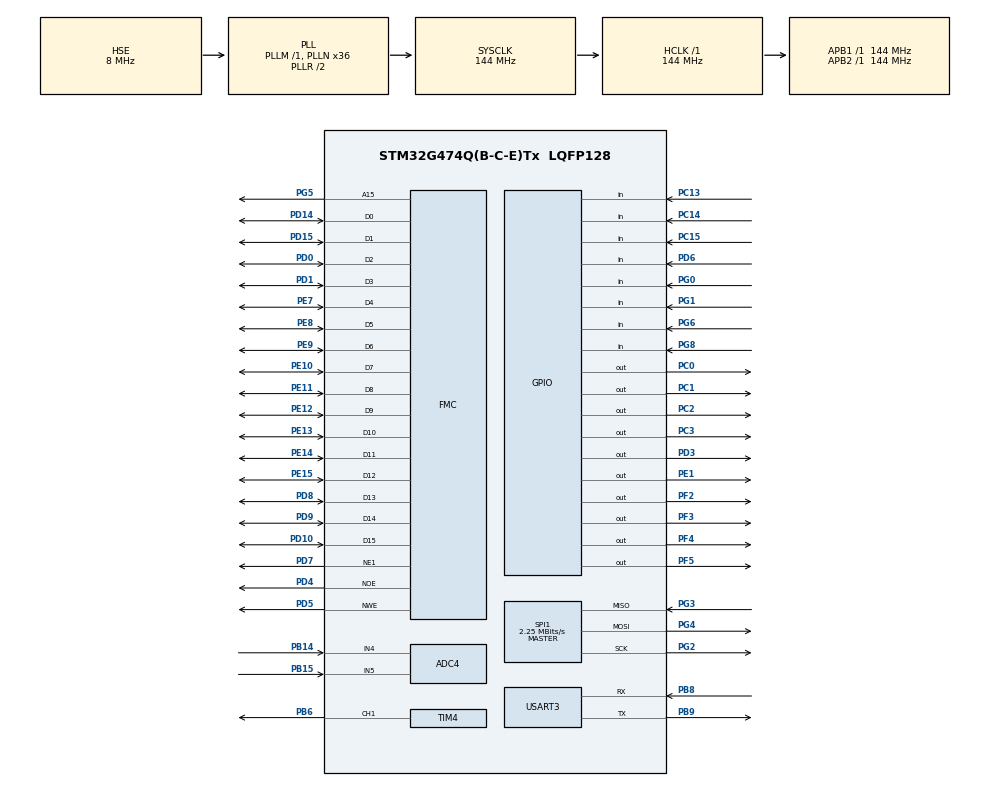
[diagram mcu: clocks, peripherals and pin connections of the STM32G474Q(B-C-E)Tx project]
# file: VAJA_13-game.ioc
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ADC4.Channel-5\#ChannelRegularConversion=ADC_CHANNEL_4
ADC4.Channel-6\#ChannelRegularConversion=ADC_CHANNEL_5
ADC4.DMAContinuousRequests=ENABLE
ADC4.ExternalTrigConv=ADC_EXTERNALTRIG_T1_TRGO
ADC4.NbrOfConversion=2
ADC4.NbrOfConversionFlag=1
ADC4.OffsetNumber-5\#ChannelRegularConversion=ADC_OFFSET_NONE
ADC4.OffsetNumber-6\#ChannelRegularConversion=ADC_OFFSET_NONE
ADC4.Rank-5\#ChannelRegularConversion=1
ADC4.Rank-6\#ChannelRegularConversion=2
ADC4.SamplingTime-5\#ChannelRegularConversion=ADC_SAMPLETIME_640CYCLES_5
ADC4.SamplingTime-6\#ChannelRegularConversion=ADC_SAMPLETIME_640CYCLES_5
Dma.ADC4.0.Direction=DMA_PERIPH_TO_MEMORY
Dma.ADC4.0.EventEnable=DISABLE
Dma.ADC4.0.Instance=DMA1_Channel1
Dma.ADC4.0.MemDataAlignment=DMA_MDATAALIGN_HALFWORD
Dma.ADC4.0.MemInc=DMA_MINC_ENABLE
Dma.ADC4.0.Mode=DMA_CIRCULAR
Dma.ADC4.0.PeriphDataAlignment=DMA_PDATAALIGN_HALFWORD
Dma.ADC4.0.PeriphInc=DMA_PINC_DISABLE
Dma.ADC4.0.Polarity=HAL_DMAMUX_REQ_GEN_RISING
Dma.ADC4.0.Priority=DMA_PRIORITY_LOW
Dma.ADC4.0.RequestNumber=1
Dma.ADC4.0.SignalID=NONE
Dma.ADC4.0.SyncEnable=DISABLE
Dma.ADC4.0.SyncPolarity=HAL_DMAMUX_SYNC_NO_EVENT
Dma.ADC4.0.SyncRequestNumber=1
Dma.ADC4.0.SyncSignalID=NONE
Dma.Request0=ADC4
FMC.AddressSetupTime1=1
FMC.BusTurnAroundDuration1=1
FMC.DataHoldTime1=1
FMC.DataSetupTime1=1
Mcu.Family=STM32G4
Mcu.Name=STM32G474Q(B-C-E)Tx
Mcu.Package=LQFP128
NVIC.DMA1_Channel1_IRQn=true\:0\:0\:false\:false\:true\:false\:true\:true
NVIC.PriorityGroup=NVIC_PRIORITYGROUP_4
NVIC.TIM6_DAC_IRQn=true\:15\:0\:true\:false\:true\:true\:true\:true
NVIC.USART3_IRQn=true\:0\:0\:false\:false\:true\:true\:true\:true
PB14.Mode=IN4-Single-Ended
PB14.Signal=ADC4_IN4
PB15.Mode=IN5-Single-Ended
PB15.Signal=ADC4_IN5
PB6.Signal=S_TIM4_CH1
PB8-BOOT0.Mode=Asynchronous
PB8-BOOT0.Signal=USART3_RX
PB9.Mode=Asynchronous
PB9.Signal=USART3_TX
PC0.Signal=GPIO_Output
PC1.Signal=GPIO_Output
PC13.GPIO_PuPd=GPIO_PULLUP
PC13.Signal=GPIO_Input
PC14-OSC32_IN.GPIO_PuPd=GPIO_PULLUP
PC14-OSC32_IN.Signal=GPIO_Input
PC15-OSC32_OUT.GPIO_PuPd=GPIO_PULLUP
PC15-OSC32_OUT.Signal=GPIO_Input
PC2.Signal=GPIO_Output
PC3.Signal=GPIO_Output
PD0.Signal=FMC_D2_DA2
PD1.Signal=FMC_D3_DA3
PD10.Signal=FMC_D15_DA15
PD14.Signal=FMC_D0_DA0
PD15.Signal=FMC_D1_DA1
PD3.Signal=GPIO_Output
PD4.Signal=FMC_NOE
PD5.Signal=FMC_NWE
PD6.Signal=GPIO_Input
PD7.Mode=NorPsramChipSelect1_1
PD7.Signal=FMC_NE1
PD8.Signal=FMC_D13_DA13
PD9.Signal=FMC_D14_DA14
PE1.Signal=GPIO_Output
PE10.Signal=FMC_D7_DA7
PE11.Signal=FMC_D8_DA8
PE12.Signal=FMC_D9_DA9
PE13.Signal=FMC_D10_DA10
PE14.Signal=FMC_D11_DA11
PE15.Signal=FMC_D12_DA12
PE7.Signal=FMC_D4_DA4
PE8.Signal=FMC_D5_DA5
PE9.Signal=FMC_D6_DA6
PF0-OSC_IN.Mode=HSE-External-Clock-Source
PF0-OSC_IN.Signal=RCC_OSC_IN
PF2.Signal=GPIO_Output
PF3.Signal=GPIO_Output
PF4.Signal=GPIO_Output
PF5.Signal=GPIO_Output
PG0.GPIO_PuPd=GPIO_PULLUP
PG0.Signal=GPIO_Input
PG1.GPIO_PuPd=GPIO_PULLUP
PG1.Signal=GPIO_Input
PG2.Mode=Full_Duplex_Master
PG2.Signal=SPI1_SCK
PG3.Mode=Full_Duplex_Master
PG3.Signal=SPI1_MISO
PG4.Mode=Full_Duplex_Master
PG4.Signal=SPI1_MOSI
PG5.Signal=FMC_A15
PG6.GPIO_PuPd=GPIO_PULLUP
PG6.Signal=GPIO_Input
PG8.GPIO_PuPd=GPIO_PULLUP
PG8.Signal=GPIO_Input
ProjectManager.HeapSize=0x200
ProjectManager.StackSize=0x400
ProjectManager.TargetToolchain=STM32CubeIDE
RCC.ADC12Freq_Value=144000000
RCC.ADC345Freq_Value=144000000
RCC.AHBFreq_Value=144000000
RCC.APB1Freq_Value=144000000
RCC.APB1TimFreq_Value=144000000
RCC.APB2Freq_Value=144000000
RCC.APB2TimFreq_Value=144000000
RCC.CortexFreq_Value=144000000
RCC.EXTERNAL_CLOCK_VALUE=12288000
RCC.HCLKFreq_Value=144000000
RCC.HSE_VALUE=8000000
RCC.HSI48_VALUE=48000000
RCC.HSI_VALUE=16000000
RCC.LSE_VALUE=32768
RCC.PLLN=36
RCC.PLLQ=RCC_PLLQ_DIV6
RCC.PLLSourceVirtual=RCC_PLLSOURCE_HSE
RCC.SYSCLKFreq_VALUE=144000000
RCC.SYSCLKSource=RCC_SYSCLKSOURCE_PLLCLK
RCC.USBFreq_Value=48000000
RCC.VCOOutputFreq_Value=288000000
SH.FMC_A15.0=FMC_A15,A15_1
SH.FMC_D0_DA0.0=FMC_D0,16b-d1
SH.FMC_D10_DA10.0=FMC_D10,16b-d1
SH.FMC_D11_DA11.0=FMC_D11,16b-d1
SH.FMC_D12_DA12.0=FMC_D12,16b-d1
SH.FMC_D13_DA13.0=FMC_D13,16b-d1
SH.FMC_D14_DA14.0=FMC_D14,16b-d1
SH.FMC_D15_DA15.0=FMC_D15,16b-d1
SH.FMC_D1_DA1.0=FMC_D1,16b-d1
SH.FMC_D2_DA2.0=FMC_D2,16b-d1
SH.FMC_D3_DA3.0=FMC_D3,16b-d1
SH.FMC_D4_DA4.0=FMC_D4,16b-d1
SH.FMC_D5_DA5.0=FMC_D5,16b-d1
SH.FMC_D6_DA6.0=FMC_D6,16b-d1
SH.FMC_D7_DA7.0=FMC_D7,16b-d1
SH.FMC_D8_DA8.0=FMC_D8,16b-d1
SH.FMC_D9_DA9.0=FMC_D9,16b-d1
SH.FMC_NOE.0=FMC_NOE,Lcd1
SH.FMC_NWE.0=FMC_NWE,Lcd1
SH.S_TIM4_CH1.0=TIM4_CH1,PWM Generation1 CH1
SPI1.BaudRatePrescaler=SPI_BAUDRATEPRESCALER_64
SPI1.CalculateBaudRate=2.25 MBits/s
SPI1.DataSize=SPI_DATASIZE_8BIT
SPI1.Direction=SPI_DIRECTION_2LINES
SPI1.Mode=SPI_MODE_MASTER
SPI1.NSSPMode=SPI_NSS_PULSE_DISABLE
SPI1.VirtualType=VM_MASTER
TIM1.PeriodNoDither=9
TIM1.Prescaler=14399
TIM1.TIM_MasterOutputTrigger=TIM_TRGO_UPDATE
TIM4.Channel-PWM\ Generation1\ CH1=TIM_CHANNEL_1
TIM4.PeriodNoDither=99
TIM4.Prescaler=1439
TIM6.PeriodNoDither=49999
TIM6.Prescaler=143
USART3.OverrunDisableParam=ADVFEATURE_OVERRUN_DISABLE
USART3.VirtualMode-Asynchronous=VM_ASYNC
VP_SYS_VS_DBSignals.Mode=DisableDeadBatterySignals
VP_TIM1_VS_ClockSourceINT.Mode=Internal
VP_TIM4_VS_ClockSourceINT.Mode=Internal
VP_TIM6_VS_ClockSourceINT.Mode=Enable_Timer
board=custom

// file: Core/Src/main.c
/* USER CODE BEGIN Header */
/*
 ******************************************************************************
 * @file           : main.c
 * @brief          : Main program body
 ******************************************************************************
 * @attention
 *
 * Copyright (c) 2022 STMicroelectronics.
 * All rights reserved.
 *
 * This software is licensed under terms that can be found in the LICENSE file
 * in the root directory of this software component.
 * If no LICENSE file comes with this software, it is provided AS-IS.
 *
 ******************************************************************************
 */
/* USER CODE END Header */
#include "adc.h"
#include "dma.h"
#include "spi.h"
#include "tim.h"
#include "usart.h"
#include "gpio.h"
#include "fmc.h"

/* USER CODE BEGIN Includes */
#include "LED.h"
#include "kbd.h"
#include "SCI.h"
#include "periodic_services.h"
#include "timing_utils.h"
#include "lcd.h"
#include "joystick.h"
#include "objects.h"
#include "graphics.h"
#include "game.h"
/* USER CODE END Includes */

void SystemClock_Config(void);

int main(void) {

    /* MCU Configuration------------------------------------------------------*/

    /* Reset of all peripherals, Initializes the Flash interface and the
     * Systick. */
    HAL_Init();

    /* Configure the system clock */
    SystemClock_Config();

    /* Initialize all configured peripherals */
    MX_GPIO_Init();
    MX_USART3_UART_Init();
    MX_TIM6_Init();
    MX_TIM4_Init();
    MX_DMA_Init();
    MX_SPI1_Init();
    MX_ADC4_Init();
    MX_TIM1_Init();
    MX_FMC_Init();
    /* USER CODE BEGIN 2 */
    LED_init();
    KBD_init();
    SCI_init();
    PSERV_init();
    PSERV_enable();
    LCD_Init();
    LCD_uGUI_init();
    JOY_init(&hadc4, &htim1);
    /* USER CODE END 2 */

    /* Infinite loop */
    /* USER CODE BEGIN WHILE */
    while (1) {
        Game();
        /* USER CODE END WHILE */

    }
}

void SystemClock_Config(void) {
    RCC_OscInitTypeDef RCC_OscInitStruct = { 0 };
    RCC_ClkInitTypeDef RCC_ClkInitStruct = { 0 };

    /** Configure the main internal regulator output voltage
     */
    HAL_PWREx_ControlVoltageScaling(PWR_REGULATOR_VOLTAGE_SCALE1);

    /** Initializes the RCC Oscillators according to the specified parameters
     * in the RCC_OscInitTypeDef structure.
     */
    RCC_OscInitStruct.OscillatorType = RCC_OSCILLATORTYPE_HSE;
    RCC_OscInitStruct.HSEState = RCC_HSE_BYPASS;
    RCC_OscInitStruct.PLL.PLLState = RCC_PLL_ON;
    RCC_OscInitStruct.PLL.PLLSource = RCC_PLLSOURCE_HSE;
    RCC_OscInitStruct.PLL.PLLM = RCC_PLLM_DIV1;
    RCC_OscInitStruct.PLL.PLLN = 36;
    RCC_OscInitStruct.PLL.PLLP = RCC_PLLP_DIV2;
    RCC_OscInitStruct.PLL.PLLQ = RCC_PLLQ_DIV6;
    RCC_OscInitStruct.PLL.PLLR = RCC_PLLR_DIV2;
    if (HAL_RCC_OscConfig(&RCC_OscInitStruct) != HAL_OK) {
        Error_Handler();
    }

    /** Initializes the CPU, AHB and APB buses clocks
     */
    RCC_ClkInitStruct.ClockType = RCC_CLOCKTYPE_HCLK | RCC_CLOCKTYPE_SYSCLK
            | RCC_CLOCKTYPE_PCLK1 | RCC_CLOCKTYPE_PCLK2;
    RCC_ClkInitStruct.SYSCLKSource = RCC_SYSCLKSOURCE_PLLCLK;
    RCC_ClkInitStruct.AHBCLKDivider = RCC_SYSCLK_DIV1;
    RCC_ClkInitStruct.APB1CLKDivider = RCC_HCLK_DIV1;
    RCC_ClkInitStruct.APB2CLKDivider = RCC_HCLK_DIV1;

    if (HAL_RCC_ClockConfig(&RCC_ClkInitStruct, FLASH_LATENCY_4) != HAL_OK) {
        Error_Handler();
    }
}

void Error_Handler(void) {
    __disable_irq();
    while (1) {
    }
    /* USER CODE END Error_Handler_Debug */
}
